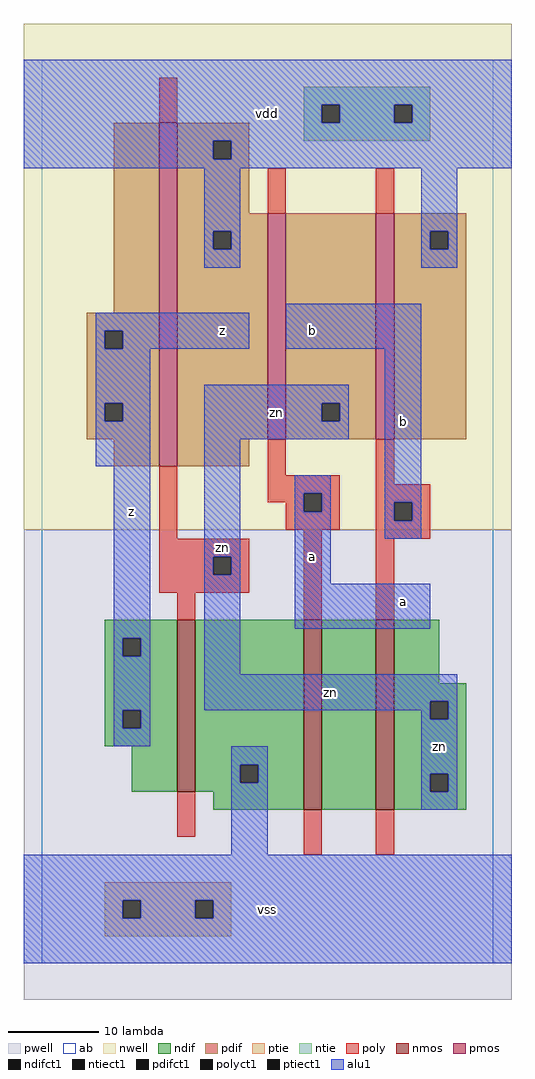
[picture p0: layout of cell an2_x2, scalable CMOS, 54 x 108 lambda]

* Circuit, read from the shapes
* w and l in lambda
.subckt an2_x2 a b vdd vss z zn
M1 vss zn z vss nfet w=19 l=2
M2 n1 a vss vss nfet w=21 l=2
M3 zn b n1 vss nfet w=21 l=2
M4 vdd zn z vdd pfet w=38 l=2
M5 zn a vdd vdd pfet w=25 l=2
M6 vdd b zn vdd pfet w=25 l=2
.ends

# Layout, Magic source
magic
tech scmos
<< ab >>
rect 0 0 50 100
<< nwell >>
rect -2 48 52 104
<< pwell >>
rect -2 -4 52 48
<< poly >>
rect 13 93 15 98
rect 25 83 27 88
rect 37 83 39 88
rect 13 47 15 55
rect 25 54 27 58
rect 25 52 33 54
rect 25 51 29 52
rect 27 50 29 51
rect 31 50 33 52
rect 27 48 33 50
rect 37 53 39 58
rect 37 51 43 53
rect 37 49 39 51
rect 41 49 43 51
rect 13 45 23 47
rect 13 43 19 45
rect 21 43 23 45
rect 13 41 23 43
rect 15 38 17 41
rect 29 38 31 48
rect 37 47 43 49
rect 37 38 39 47
rect 15 14 17 19
rect 29 12 31 17
rect 37 12 39 17
<< ndif >>
rect 7 36 15 38
rect 7 34 9 36
rect 11 34 15 36
rect 7 28 15 34
rect 7 26 9 28
rect 11 26 15 28
rect 7 24 15 26
rect 10 19 15 24
rect 17 22 29 38
rect 17 20 22 22
rect 24 20 29 22
rect 17 19 29 20
rect 19 17 29 19
rect 31 17 37 38
rect 39 31 44 38
rect 39 29 47 31
rect 39 27 43 29
rect 45 27 47 29
rect 39 21 47 27
rect 39 19 43 21
rect 45 19 47 21
rect 39 17 47 19
<< pdif >>
rect 8 72 13 93
rect 5 70 13 72
rect 5 68 7 70
rect 9 68 13 70
rect 5 62 13 68
rect 5 60 7 62
rect 9 60 13 62
rect 5 58 13 60
rect 8 55 13 58
rect 15 91 23 93
rect 15 89 19 91
rect 21 89 23 91
rect 15 83 23 89
rect 15 81 25 83
rect 15 79 19 81
rect 21 79 25 81
rect 15 58 25 79
rect 27 62 37 83
rect 27 60 31 62
rect 33 60 37 62
rect 27 58 37 60
rect 39 81 47 83
rect 39 79 43 81
rect 45 79 47 81
rect 39 58 47 79
rect 15 55 23 58
<< alu1 >>
rect -2 95 52 100
rect -2 93 31 95
rect 33 93 39 95
rect 41 93 52 95
rect -2 91 52 93
rect -2 89 19 91
rect 21 89 52 91
rect -2 88 52 89
rect 18 81 22 88
rect 18 79 19 81
rect 21 79 22 81
rect 18 77 22 79
rect 42 81 46 88
rect 42 79 43 81
rect 45 79 46 81
rect 42 77 46 79
rect 6 70 23 72
rect 6 68 7 70
rect 9 68 23 70
rect 27 68 42 73
rect 6 62 12 68
rect 6 60 7 62
rect 9 60 12 62
rect 6 55 12 60
rect 8 36 12 55
rect 8 34 9 36
rect 11 34 12 36
rect 8 28 12 34
rect 18 62 34 64
rect 18 60 31 62
rect 33 60 34 62
rect 18 58 34 60
rect 18 45 22 58
rect 18 43 19 45
rect 21 43 22 45
rect 18 32 22 43
rect 28 52 32 54
rect 28 50 29 52
rect 31 50 32 52
rect 28 42 32 50
rect 38 51 42 68
rect 38 49 39 51
rect 41 49 42 51
rect 38 47 42 49
rect 28 37 43 42
rect 18 29 46 32
rect 18 28 43 29
rect 8 26 9 28
rect 11 26 12 28
rect 8 24 12 26
rect 42 27 43 28
rect 45 27 46 29
rect 21 22 25 24
rect 21 20 22 22
rect 24 20 25 22
rect 21 12 25 20
rect 42 21 46 27
rect 42 19 43 21
rect 45 19 46 21
rect 42 17 46 19
rect -2 7 52 12
rect -2 5 9 7
rect 11 5 17 7
rect 19 5 52 7
rect -2 0 52 5
<< ptie >>
rect 7 7 21 9
rect 7 5 9 7
rect 11 5 17 7
rect 19 5 21 7
rect 7 3 21 5
<< ntie >>
rect 29 95 43 97
rect 29 93 31 95
rect 33 93 39 95
rect 41 93 43 95
rect 29 91 43 93
<< nmos >>
rect 15 19 17 38
rect 29 17 31 38
rect 37 17 39 38
<< pmos >>
rect 13 55 15 93
rect 25 58 27 83
rect 37 58 39 83
<< polyct1 >>
rect 29 50 31 52
rect 39 49 41 51
rect 19 43 21 45
<< ndifct1 >>
rect 9 34 11 36
rect 9 26 11 28
rect 22 20 24 22
rect 43 27 45 29
rect 43 19 45 21
<< ntiect1 >>
rect 31 93 33 95
rect 39 93 41 95
<< ptiect1 >>
rect 9 5 11 7
rect 17 5 19 7
<< pdifct1 >>
rect 7 68 9 70
rect 7 60 9 62
rect 19 89 21 91
rect 19 79 21 81
rect 31 60 33 62
rect 43 79 45 81
<< labels >>
rlabel alu1 20 46 20 46 6 zn
rlabel alu1 10 50 10 50 6 z
rlabel alu1 20 70 20 70 6 z
rlabel alu1 25 6 25 6 6 vss
rlabel alu1 30 45 30 45 6 a
rlabel alu1 26 61 26 61 6 zn
rlabel alu1 30 70 30 70 6 b
rlabel alu1 25 94 25 94 6 vdd
rlabel alu1 25 94 25 94 6 vdd
rlabel alu1 44 24 44 24 6 zn
rlabel alu1 40 40 40 40 6 a
rlabel alu1 32 30 32 30 6 zn
rlabel alu1 40 60 40 60 6 b
<< end >>
